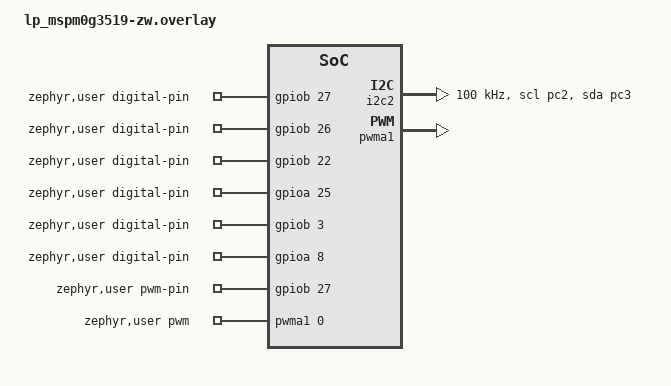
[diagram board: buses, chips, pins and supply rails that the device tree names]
/*
 * Added on top of lp_mspm0g3519.overlay for the patched workspace (Zephyr main 1405adc9a plus the
 * MSPM0 I2C pull request #117311). Pass both: OVERLAY="<base>;<this file>".
 * Wire  = I2C2 on PC2 (SCL) and PC3 (SDA), BoosterPack pins 9 and 10, function 2 (PINCM76, PINCM77).
 *         The Waveshare panel's FT6336U touch chip (0x38) sits on these two pins on this bench.
 * SPI   = SPI0 on PB18 (SCLK), PB17 (PICO), PB19 (POCI), chip select D5 = PA8. SPI1, the board file's
 *         other SPI, is on PB9/PB8/PB7, the panel's DC, MOSI and MISO wires, so it is left alone.
 * PWM   = D0 (PB27, green LED) on TIMA1 compare 1, PINCM58 function 9 (SysConfig MSPM0G351X device data).
 *         Zephyr's shared pin file says function 6 (tima1_ccp1_pb27), which is COMP2.OUT on this chip:
 *         the timer then runs and the pin stays low. 500 us period.
 * D4    = PB3, button S2 (to GND when pressed; the board file pulls it up).
 */
#include <zephyr/dt-bindings/gpio/gpio.h>
#include <zephyr/dt-bindings/pwm/pwm.h>
#include <zephyr/dt-bindings/pinctrl/mspm0-pinctrl.h>

&pinctrl {
	tima1_ccp1_pb27_g351x: tima1_ccp1_pb27_g351x {
		pinmux = <MSP_PINMUX(58, MSPM0_PIN_FUNCTION_9)>;
	};

	i2c2_scl_pc2: i2c2_scl_pc2 {
		pinmux = <MSP_PINMUX(76, MSPM0_PIN_FUNCTION_2)>;
		input-enable;
		drive-open-drain;
		bias-pull-up;
	};

	i2c2_sda_pc3: i2c2_sda_pc3 {
		pinmux = <MSP_PINMUX(77, MSPM0_PIN_FUNCTION_2)>;
		input-enable;
		drive-open-drain;
		bias-pull-up;
	};
};

&i2c2 {
	pinctrl-0 = <&i2c2_scl_pc2 &i2c2_sda_pc3>;
	pinctrl-names = "default";
	clock-frequency = <I2C_BITRATE_STANDARD>;
	status = "okay";
};

&pwma1 {
	status = "okay";
	pinctrl-0 = <&tima1_ccp1_pb27_g351x>;
	pinctrl-names = "default";
	ti,cc-index = <1>;
	ti,pwm-mode = "EDGE_ALIGN";
	ti,period = <1000>;
};

/ {
	zephyr,user {
		digital-pin-gpios = <&gpiob 27 0>,	/* D0 green LED, PWM */
				    <&gpiob 26 0>,	/* D1 red LED */
				    <&gpiob 22 0>,	/* D2 blue LED */
				    <&gpioa 25 0>,	/* D3 = A0 */
				    <&gpiob 3 0>,	/* D4 button S2 */
				    <&gpioa 8 0>;	/* D5 SPI chip select */
		pwm-pin-gpios = <&gpiob 27 0>;
		pwms = <&pwma1 0 PWM_USEC(500) PWM_POLARITY_NORMAL>;
		i2cs = <&i2c2>;
		spis = <&spi0>;
	};
};
